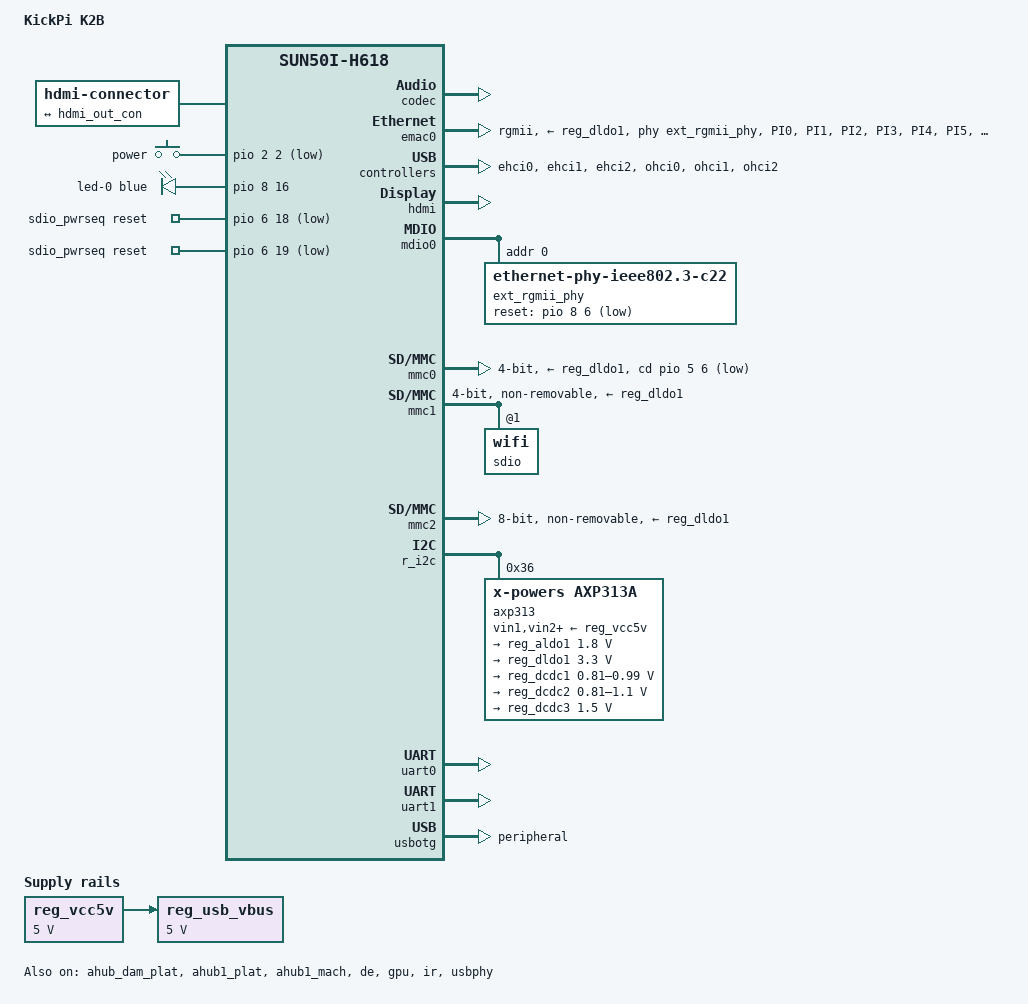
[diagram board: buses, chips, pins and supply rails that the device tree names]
// SPDX-License-Identifier: (GPL-2.0+ OR MIT)
/*
 * Copyright (C) 2026 Patrick Yavitz <pyavitz@gmail.com>
 */

/dts-v1/;

#include "sun50i-h616.dtsi"
#include "sun50i-h616-cpu-opp.dtsi"

#include <dt-bindings/gpio/gpio.h>
#include <dt-bindings/interrupt-controller/arm-gic.h>
#include <dt-bindings/input/linux-event-codes.h>
#include <dt-bindings/leds/common.h>

/ {
	model = "KickPi K2B";
	compatible = "kickpi,k2b", "allwinner,sun50i-h618";

	aliases {
		ethernet0 = &emac0;
		i2c1 = &i2c1;
		i2c2 = &i2c2;
		i2c3 = &i2c3;
		i2c4 = &i2c4;
		serial0 = &uart0;
		serial1 = &uart1;
		serial2 = &uart2;
		serial5 = &uart5;
	};

	chosen {
		stdout-path = "serial0:115200n8";
		kaslr-seed = <0xfeedbeef 0xc0def00d>;
	};

	connector {
		compatible = "hdmi-connector";
		type = "d";

		port {
			hdmi_con_in: endpoint {
				remote-endpoint = <&hdmi_out_con>;
			};
		};
	};

	gpio-keys-polled {
		compatible = "gpio-keys-polled";
		poll-interval = <100>;

		button-power {
			label = "power";
			linux,code = <KEY_POWER>;
			gpios = <&pio 2 2 GPIO_ACTIVE_LOW>; /* PC2 */
		};
	};

	leds {
		compatible = "gpio-leds";

		led-0 {
			color = <LED_COLOR_ID_BLUE>;
			function = LED_FUNCTION_STATUS;
			gpios = <&pio 8 16 GPIO_ACTIVE_HIGH>; /* PI16 */
			linux,default-trigger = "heartbeat";
		};
	};

	reg_usb_vbus: regulator-usb-vbus {
		/* Separate discrete regulator for the USB ports */
		compatible = "regulator-fixed";
		regulator-min-microvolt = <5000000>;
		regulator-max-microvolt = <5000000>;
		regulator-name = "usb-vbus";
		vin-supply = <&reg_vcc5v>;
	};

	reg_vcc5v: regulator-vcc5v {
		/* Board wide 5V supply directly from the USB-C socket */
		compatible = "regulator-fixed";
		regulator-always-on;
		regulator-min-microvolt = <5000000>;
		regulator-max-microvolt = <5000000>;
		regulator-name = "vcc-5v";
	};

	sdio_pwrseq: sdio-pwrseq {
		compatible = "mmc-pwrseq-simple";
		clocks = <&rtc CLK_OSC32K_FANOUT>;
		clock-names = "ext_clock";
		pinctrl-0 = <&x32clk_fanout_pin>;
		pinctrl-names = "default";
		post-power-on-delay-ms = <100>;
		power-off-delay-us = <5000000>;
		reset-gpios = <&pio 6 18 GPIO_ACTIVE_LOW>, /* PG18 */
			      <&pio 6 19 GPIO_ACTIVE_LOW>; /* PG19 */
	};
};

&ahub_dam_plat {
	status = "okay";
};

&ahub1_plat {
	status = "okay";
};

&ahub1_mach {
	status = "okay";
};

&codec {
	status = "okay";
	allwinner,audio-routing = "Line Out", "LINEOUT";
};

&cpu0 {
	cpu-supply = <&reg_dcdc2>;
};

&de {
	status = "okay";
};

&emac0 {
	status = "okay";
	pinctrl-0 = <&ext_rgmii_pins>;
	pinctrl-names = "default";
	phy-mode = "rgmii";
	phy-handle = <&ext_rgmii_phy>;
	phy-supply = <&reg_dldo1>;
	allwinner,tx-delay-ps = <700>;
	allwinner,rx-delay-ps = <2000>;
};

&ehci0 {
	status = "okay";
};

&ehci1 {
	status = "okay";
};

&ehci2 {
	status = "okay";
};

&ehci3 {
	status = "disabled";
};

&gpu {
	status = "okay";
	mali-supply = <&reg_dcdc1>;
};

&hdmi {
	status = "okay";
};

&hdmi_out {
	hdmi_out_con: endpoint {
		remote-endpoint = <&hdmi_con_in>;
	};
};

&i2c1 {
	status = "disabled";
	pinctrl-0 = <&i2c1_ph_pins>;
	pinctrl-names = "default";
};

&i2c2 {
	status = "disabled";
	pinctrl-0 = <&i2c2_ph_pins>;
	pinctrl-names = "default";
};

&i2c3 {
	status = "disabled";
	pinctrl-0 = <&i2c3_ph_pins>;
	pinctrl-names = "default";
};

&i2c4 {
	status = "disabled";
	pinctrl-0 = <&i2c4_ph_pins>;
	pinctrl-names = "default";
};

&ir {
	status = "okay";
	pinctrl-0 = <&ir_rx_pin>;
	pinctrl-names = "default";
};

&mdio0 {
	ext_rgmii_phy: ethernet-phy@0 {
		compatible = "ethernet-phy-ieee802.3-c22";
		reg = <0x0>;
		reset-assert-us = <20000>;
		reset-deassert-us = <100000>;
		reset-gpios = <&pio 8 6 GPIO_ACTIVE_LOW>; /* PI6 */
	};
};

/* SD card */
&mmc0 {
	status = "okay";
	bus-width = <4>;
	cd-gpios = <&pio 5 6 GPIO_ACTIVE_HIGH>;	/* PF6 */
	cd-inverted;
	disable-wp;
	max-frequency = <50000000>;
	vmmc-supply = <&reg_dldo1>;
};

/* SDIO */
&mmc1 {
	status = "okay";
	bus-width = <4>;
	keep-power-in-suspend;
	max-frequency = <100000000>;
	mmc-pwrseq = <&sdio_pwrseq>;
	no-mmc;
	no-sd;
	non-removable;
	vmmc-supply = <&reg_dldo1>;
	vqmmc-supply = <&reg_aldo1>;

	sdio: wifi@1 {
		reg = <1>;
	};
};

/* eMMC */
&mmc2 {
	status = "okay";
	bus-width = <8>;
	cap-mmc-hw-reset;
	mmc-hs200-1_8v;
	non-removable;
	vmmc-supply = <&reg_dldo1>;
	vqmmc-supply = <&reg_aldo1>;
};

&ohci0 {
	status = "okay";
};

&ohci1 {
	status = "okay";
};

&ohci2 {
	status = "okay";
};

&ohci3 {
	status = "disabled";
};

&pio {
	vcc-pc-supply = <&reg_dldo1>;
	vcc-pf-supply = <&reg_dldo1>;
	vcc-pg-supply = <&reg_aldo1>;
	vcc-ph-supply = <&reg_dldo1>;
	vcc-pi-supply = <&reg_dldo1>;
	vcc-pl-supply = <&reg_aldo1>;

	/* PI16 required for sys_led */
	ext_rgmii_pins: rgmii-pins {
		pins = "PI0", "PI1", "PI2", "PI3", "PI4",
		       "PI5", "PI7", "PI8", "PI9", "PI10",
		       "PI11", "PI12", "PI13", "PI14", "PI15";
		function = "emac0";
		drive-strength = <40>;
	};

	/* Add I2C PH Pins */
	i2c1_ph_pins: i2c1-ph-pins {
		pins = "PH0", "PH1";
		function = "i2c1";
	};

	i2c2_ph_pins: i2c2-ph-pins {
		pins = "PH2", "PH3";
		function = "i2c2";
	};

	i2c4_ph_pins: i2c4-ph-pins {
		pins = "PH6", "PH7";
		function = "i2c4";
	};

	/* PC0 required for spi0 */
	mmc2_pins: mmc2-pins {
		pins = "PC1", "PC5", "PC6",
		       "PC8", "PC9", "PC10", "PC11",
		       "PC13", "PC14", "PC15", "PC16";
		function = "mmc2";
		drive-strength = <30>;
		bias-pull-up;
	};
};

&r_i2c {
	status = "okay";
	axp313: pmic@36 {
		compatible = "x-powers,axp313a";
		reg = <0x36>;
		#interrupt-cells = <1>;
		interrupt-controller;
		interrupt-parent = <&pio>;

		vin1-supply = <&reg_vcc5v>;
		vin2-supply = <&reg_vcc5v>;
		vin3-supply = <&reg_vcc5v>;

		regulators {
			reg_aldo1: aldo1 {
				regulator-always-on;
				regulator-min-microvolt = <1800000>;
				regulator-max-microvolt = <1800000>;
				regulator-step-delay-us = <25>;
				regulator-final-delay-us = <50>;
				regulator-name = "vcc-1v8-pll";
			};

			reg_dldo1: dldo1 {
				regulator-always-on;
				regulator-min-microvolt = <3300000>;
				regulator-max-microvolt = <3300000>;
				regulator-step-delay-us = <25>;
				regulator-final-delay-us = <50>;
				regulator-name = "vcc-3v3-io";
			};

			reg_dcdc1: dcdc1 {
				regulator-always-on;
				regulator-min-microvolt = <810000>;
				regulator-max-microvolt = <990000>;
				regulator-step-delay-us = <25>;
				regulator-final-delay-us = <50>;
				regulator-name = "vdd-gpu-sys";
			};

			reg_dcdc2: dcdc2 {
				regulator-always-on;
				regulator-min-microvolt = <810000>;
				regulator-max-microvolt = <1100000>;
				regulator-step-delay-us = <25>;
				regulator-final-delay-us = <50>;
				regulator-ramp-delay = <200>; /* FIXME */
				regulator-name = "vdd-cpu";
			};

			reg_dcdc3: dcdc3 {
				regulator-always-on;
				regulator-min-microvolt = <1500000>;
				regulator-max-microvolt = <1500000>;
				regulator-step-delay-us = <25>;
				regulator-final-delay-us = <50>;
				regulator-name = "vdd-dram";
			};
		};
	};
};

&spi1 {
	status = "disabled";
	pinctrl-0 = <&spi1_pins>, <&spi1_cs1_pin>;
	pinctrl-names = "default";

	spidev@1 {
		compatible = "rohm,dh2228fv";
		reg = <1>;
		spi-max-frequency = <1000000>;
	};
};

&uart0 {
	status = "okay";
	pinctrl-0 = <&uart0_ph_pins>;
	pinctrl-names = "default";
};

/* Bluetooth */
&uart1 {
	status = "okay";
	pinctrl-0 = <&uart1_pins>, <&uart1_rts_cts_pins>;
	pinctrl-names = "default";
	uart-has-rtscts;
};

&uart2 {
	status = "disabled";
	pinctrl-names = "default";
	pinctrl-0 = <&uart2_ph_pins>;
};

&uart5 {
	status = "disabled";
	pinctrl-names = "default";
	pinctrl-0 = <&uart5_pins>;
};

&usbotg {
	status = "okay";
	dr_mode = "peripheral";
};

&usbphy {
	status = "okay";
	usb1_vbus-supply = <&reg_usb_vbus>;
};
